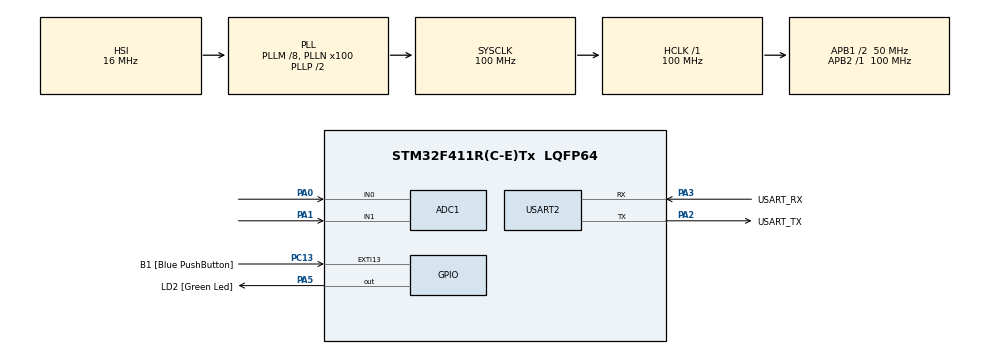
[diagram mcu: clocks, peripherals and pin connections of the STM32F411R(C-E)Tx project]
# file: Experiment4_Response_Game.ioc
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ADC1.Channel-1\#ChannelRegularConversion=ADC_CHANNEL_0
ADC1.Channel-2\#ChannelRegularConversion=ADC_CHANNEL_1
ADC1.ContinuousConvMode=ENABLE
ADC1.DMAContinuousRequests=ENABLE
ADC1.NbrOfConversion=2
ADC1.NbrOfConversionFlag=1
ADC1.Rank-1\#ChannelRegularConversion=1
ADC1.Rank-2\#ChannelRegularConversion=2
ADC1.SamplingTime-1\#ChannelRegularConversion=ADC_SAMPLETIME_56CYCLES
ADC1.SamplingTime-2\#ChannelRegularConversion=ADC_SAMPLETIME_56CYCLES
ADC1.ScanConvMode=ENABLE
ADC1.master=1
Dma.ADC1.0.Direction=DMA_PERIPH_TO_MEMORY
Dma.ADC1.0.FIFOMode=DMA_FIFOMODE_DISABLE
Dma.ADC1.0.Instance=DMA2_Stream0
Dma.ADC1.0.MemDataAlignment=DMA_MDATAALIGN_WORD
Dma.ADC1.0.MemInc=DMA_MINC_ENABLE
Dma.ADC1.0.Mode=DMA_CIRCULAR
Dma.ADC1.0.PeriphDataAlignment=DMA_PDATAALIGN_WORD
Dma.ADC1.0.PeriphInc=DMA_PINC_DISABLE
Dma.ADC1.0.Priority=DMA_PRIORITY_LOW
Dma.Request0=ADC1
Mcu.Family=STM32F4
Mcu.Name=STM32F411R(C-E)Tx
Mcu.Package=LQFP64
NVIC.DMA2_Stream0_IRQn=true\:0\:0\:false\:false\:true\:false\:true
NVIC.EXTI15_10_IRQn=true\:0\:0\:false\:false\:true\:true\:true
NVIC.PriorityGroup=NVIC_PRIORITYGROUP_0
PA0-WKUP.Signal=ADCx_IN0
PA1.Signal=ADCx_IN1
PA13.GPIO_Label=TMS
PA13.Mode=Serial_Wire
PA13.Signal=SYS_JTMS-SWDIO
PA14.GPIO_Label=TCK
PA14.Mode=Serial_Wire
PA14.Signal=SYS_JTCK-SWCLK
PA2.GPIO_Label=USART_TX
PA2.Mode=Asynchronous
PA2.Signal=USART2_TX
PA3.GPIO_Label=USART_RX
PA3.Mode=Asynchronous
PA3.Signal=USART2_RX
PA5.GPIO_Label=LD2 [Green Led]
PA5.Signal=GPIO_Output
PB3.GPIO_Label=SWO
PB3.Signal=SYS_JTDO-SWO
PC13-ANTI_TAMP.GPIO_Label=B1 [Blue PushButton]
PC13-ANTI_TAMP.GPIO_ModeDefaultEXTI=GPIO_MODE_IT_RISING_FALLING
PC13-ANTI_TAMP.GPIO_PuPd=GPIO_PULLUP
PC13-ANTI_TAMP.Signal=GPXTI13
PC14-OSC32_IN.Mode=LSE-External-Oscillator
PC14-OSC32_IN.Signal=RCC_OSC32_IN
PC15-OSC32_OUT.Mode=LSE-External-Oscillator
PC15-OSC32_OUT.Signal=RCC_OSC32_OUT
PH0\ -\ OSC_IN.Mode=HSE-External-Clock-Source
PH0\ -\ OSC_IN.Signal=RCC_OSC_IN
PH1\ -\ OSC_OUT.Mode=HSE-External-Clock-Source
PH1\ -\ OSC_OUT.Signal=RCC_OSC_OUT
ProjectManager.HeapSize=0x200
ProjectManager.StackSize=0x400
ProjectManager.TargetToolchain=STM32CubeIDE
RCC.48MHZClocksFreq_Value=50000000
RCC.AHBFreq_Value=100000000
RCC.APB1CLKDivider=RCC_HCLK_DIV2
RCC.APB1Freq_Value=50000000
RCC.APB1TimFreq_Value=100000000
RCC.APB2Freq_Value=100000000
RCC.APB2TimFreq_Value=100000000
RCC.CortexFreq_Value=100000000
RCC.FLatency-AdvancedSettings=FLASH_LATENCY_3
RCC.HCLKFreq_Value=100000000
RCC.HSE_VALUE=8000000
RCC.HSI_VALUE=16000000
RCC.PLLM=8
RCC.PLLN=100
RCC.SYSCLKFreq_VALUE=100000000
RCC.SYSCLKSource=RCC_SYSCLKSOURCE_PLLCLK
RCC.VCOOutputFreq_Value=200000000
SH.ADCx_IN0.0=ADC1_IN0,IN0
SH.ADCx_IN1.0=ADC1_IN1,IN1
USART2.VirtualMode=VM_ASYNC
board=NUCLEO-F411RE

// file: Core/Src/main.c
/* USER CODE BEGIN Header */
/**
  ******************************************************************************
  * @file           : main.c
  * @brief          : Main program body
  ******************************************************************************
  * @attention
  *
  * Copyright (c) 2022 STMicroelectronics.
  * All rights reserved.
  *
  * This software is licensed under terms that can be found in the LICENSE file
  * in the root directory of this software component.
  * If no LICENSE file comes with this software, it is provided AS-IS.
  *
  ******************************************************************************
  */
/* USER CODE END Header */
#include "main.h"

ADC_HandleTypeDef hadc1;
DMA_HandleTypeDef hdma_adc1;

UART_HandleTypeDef huart2;

/* USER CODE BEGIN PV */

uint32_t ADCData[2]={0}; // store information from ADC
uint32_t TimeCount = 0;
uint32_t Timerelease = 0;
uint32_t TimeHAL = 0;

/* USER CODE END PV */

/* USER CODE END PV */

void SystemClock_Config(void);
static void MX_GPIO_Init(void);
static void MX_USART2_UART_Init(void);
static void MX_DMA_Init(void);
static void MX_ADC1_Init(void);

int main(void)
{

  /* MCU Configuration--------------------------------------------------------*/

  /* Reset of all peripherals, Initializes the Flash interface and the Systick. */
  HAL_Init();

  /* Configure the system clock */
  SystemClock_Config();

  /* Initialize all configured peripherals */
  MX_GPIO_Init();
  MX_USART2_UART_Init();
  MX_DMA_Init();
  MX_ADC1_Init();
  /* USER CODE BEGIN 2 */

  // use DMA to ask ADC for value and keep in array
  HAL_ADC_Start_DMA(&hadc1, ADCData, 2); // DMA continue request and continue scan conversion mode
  	  	  	  	  	  	  	  	  	  	  // ADCData = container to store value / 4 = size of array to use

  /* USER CODE END 2 */

  /* Infinite loop */
  while (1)
  {

  }
}

void SystemClock_Config(void)
{
  RCC_OscInitTypeDef RCC_OscInitStruct = {0};
  RCC_ClkInitTypeDef RCC_ClkInitStruct = {0};

  /** Configure the main internal regulator output voltage
  */
  __HAL_RCC_PWR_CLK_ENABLE();
  __HAL_PWR_VOLTAGESCALING_CONFIG(PWR_REGULATOR_VOLTAGE_SCALE1);
  /** Initializes the RCC Oscillators according to the specified parameters
  * in the RCC_OscInitTypeDef structure.
  */
  RCC_OscInitStruct.OscillatorType = RCC_OSCILLATORTYPE_HSI;
  RCC_OscInitStruct.HSIState = RCC_HSI_ON;
  RCC_OscInitStruct.HSICalibrationValue = RCC_HSICALIBRATION_DEFAULT;
  RCC_OscInitStruct.PLL.PLLState = RCC_PLL_ON;
  RCC_OscInitStruct.PLL.PLLSource = RCC_PLLSOURCE_HSI;
  RCC_OscInitStruct.PLL.PLLM = 8;
  RCC_OscInitStruct.PLL.PLLN = 100;
  RCC_OscInitStruct.PLL.PLLP = RCC_PLLP_DIV2;
  RCC_OscInitStruct.PLL.PLLQ = 4;
  if (HAL_RCC_OscConfig(&RCC_OscInitStruct) != HAL_OK)
  {
    Error_Handler();
  }
  /** Initializes the CPU, AHB and APB buses clocks
  */
  RCC_ClkInitStruct.ClockType = RCC_CLOCKTYPE_HCLK|RCC_CLOCKTYPE_SYSCLK
                              |RCC_CLOCKTYPE_PCLK1|RCC_CLOCKTYPE_PCLK2;
  RCC_ClkInitStruct.SYSCLKSource = RCC_SYSCLKSOURCE_PLLCLK;
  RCC_ClkInitStruct.AHBCLKDivider = RCC_SYSCLK_DIV1;
  RCC_ClkInitStruct.APB1CLKDivider = RCC_HCLK_DIV2;
  RCC_ClkInitStruct.APB2CLKDivider = RCC_HCLK_DIV1;

  if (HAL_RCC_ClockConfig(&RCC_ClkInitStruct, FLASH_LATENCY_3) != HAL_OK)
  {
    Error_Handler();
  }
}

static void MX_ADC1_Init(void)
{

  ADC_ChannelConfTypeDef sConfig = {0};

  /** Configure the global features of the ADC (Clock, Resolution, Data Alignment and number of conversion)
  */
  hadc1.Instance = ADC1;
  hadc1.Init.ClockPrescaler = ADC_CLOCK_SYNC_PCLK_DIV4;
  hadc1.Init.Resolution = ADC_RESOLUTION_12B;
  hadc1.Init.ScanConvMode = ENABLE;
  hadc1.Init.ContinuousConvMode = ENABLE;
  hadc1.Init.DiscontinuousConvMode = DISABLE;
  hadc1.Init.ExternalTrigConvEdge = ADC_EXTERNALTRIGCONVEDGE_NONE;
  hadc1.Init.ExternalTrigConv = ADC_SOFTWARE_START;
  hadc1.Init.DataAlign = ADC_DATAALIGN_RIGHT;
  hadc1.Init.NbrOfConversion = 2;
  hadc1.Init.DMAContinuousRequests = ENABLE;
  hadc1.Init.EOCSelection = ADC_EOC_SINGLE_CONV;
  if (HAL_ADC_Init(&hadc1) != HAL_OK)
  {
    Error_Handler();
  }
  /** Configure for the selected ADC regular channel its corresponding rank in the sequencer and its sample time.
  */
  sConfig.Channel = ADC_CHANNEL_0;
  sConfig.Rank = 1;
  sConfig.SamplingTime = ADC_SAMPLETIME_56CYCLES;
  if (HAL_ADC_ConfigChannel(&hadc1, &sConfig) != HAL_OK)
  {
    Error_Handler();
  }
  /** Configure for the selected ADC regular channel its corresponding rank in the sequencer and its sample time.
  */
  sConfig.Channel = ADC_CHANNEL_1;
  sConfig.Rank = 2;
  if (HAL_ADC_ConfigChannel(&hadc1, &sConfig) != HAL_OK)
  {
    Error_Handler();
  }

}

static void MX_USART2_UART_Init(void)
{

  huart2.Instance = USART2;
  huart2.Init.BaudRate = 115200;
  huart2.Init.WordLength = UART_WORDLENGTH_8B;
  huart2.Init.StopBits = UART_STOPBITS_1;
  huart2.Init.Parity = UART_PARITY_NONE;
  huart2.Init.Mode = UART_MODE_TX_RX;
  huart2.Init.HwFlowCtl = UART_HWCONTROL_NONE;
  huart2.Init.OverSampling = UART_OVERSAMPLING_16;
  if (HAL_UART_Init(&huart2) != HAL_OK)
  {
    Error_Handler();
  }

}

static void MX_DMA_Init(void)
{

  /* DMA controller clock enable */
  __HAL_RCC_DMA2_CLK_ENABLE();

  /* DMA interrupt init */
  /* DMA2_Stream0_IRQn interrupt configuration */
  HAL_NVIC_SetPriority(DMA2_Stream0_IRQn, 0, 0);
  HAL_NVIC_EnableIRQ(DMA2_Stream0_IRQn);

}

static void MX_GPIO_Init(void)
{
  GPIO_InitTypeDef GPIO_InitStruct = {0};

  /* GPIO Ports Clock Enable */
  __HAL_RCC_GPIOC_CLK_ENABLE();
  __HAL_RCC_GPIOH_CLK_ENABLE();
  __HAL_RCC_GPIOA_CLK_ENABLE();
  __HAL_RCC_GPIOB_CLK_ENABLE();

  /*Configure GPIO pin Output Level */
  HAL_GPIO_WritePin(LD2_GPIO_Port, LD2_Pin, GPIO_PIN_RESET);

  /*Configure GPIO pin : B1_Pin */
  GPIO_InitStruct.Pin = B1_Pin;
  GPIO_InitStruct.Mode = GPIO_MODE_IT_RISING_FALLING;
  GPIO_InitStruct.Pull = GPIO_PULLUP;
  HAL_GPIO_Init(B1_GPIO_Port, &GPIO_InitStruct);

  /*Configure GPIO pin : LD2_Pin */
  GPIO_InitStruct.Pin = LD2_Pin;
  GPIO_InitStruct.Mode = GPIO_MODE_OUTPUT_PP;
  GPIO_InitStruct.Pull = GPIO_NOPULL;
  GPIO_InitStruct.Speed = GPIO_SPEED_FREQ_LOW;
  HAL_GPIO_Init(LD2_GPIO_Port, &GPIO_InitStruct);

  /* EXTI interrupt init*/
  HAL_NVIC_SetPriority(EXTI15_10_IRQn, 0, 0);
  HAL_NVIC_EnableIRQ(EXTI15_10_IRQn);

}

/* USER CODE BEGIN 4 */

// This is Function Interrupt
void HAL_GPIO_EXTI_Callback(uint16_t GPIO_Pin){	// Callback = receive interrupt / GPIO_Pin = has 1 pin that assign when press
												// EXTI = external interrupt(don't interested in main function)

	static uint8_t checkstate = 0;

	switch (checkstate){
		case 0 :
			if (GPIO_Pin == GPIO_PIN_13){	//detect when rissing and falling
				HAL_GPIO_WritePin(LD2_GPIO_Port, LD2_Pin, GPIO_PIN_RESET);
				TimeHAL = HAL_GetTick();	// HAL_GetTick() is continue counting and assign to TimeHAl
				Timerelease = 1000 + ((22695477 * ADCData[0]) + ADCData[1]) % 10000; // make random number
				checkstate = 1;
			}
			break;
		case 1 :
			if (GPIO_Pin == GPIO_PIN_13){
				TimeCount = HAL_GetTick() - TimeHAL;
				checkstate = 0;
			}
			break;
	}
}

// This is loop interrupt
void HAL_ADC_ConvCpltCallback(ADC_HandleTypeDef* hadc){ // God loop // like the loop function that is interrupt
	if (HAL_GetTick() - TimeHAL > Timerelease){		// if the loop continue to Timerelease do in the if-statement
		HAL_GPIO_WritePin(LD2_GPIO_Port, LD2_Pin, GPIO_PIN_SET);
	}
}

/* USER CODE END 4 */

void Error_Handler(void)
{
  __disable_irq();
  while (1)
  {
  }
}
